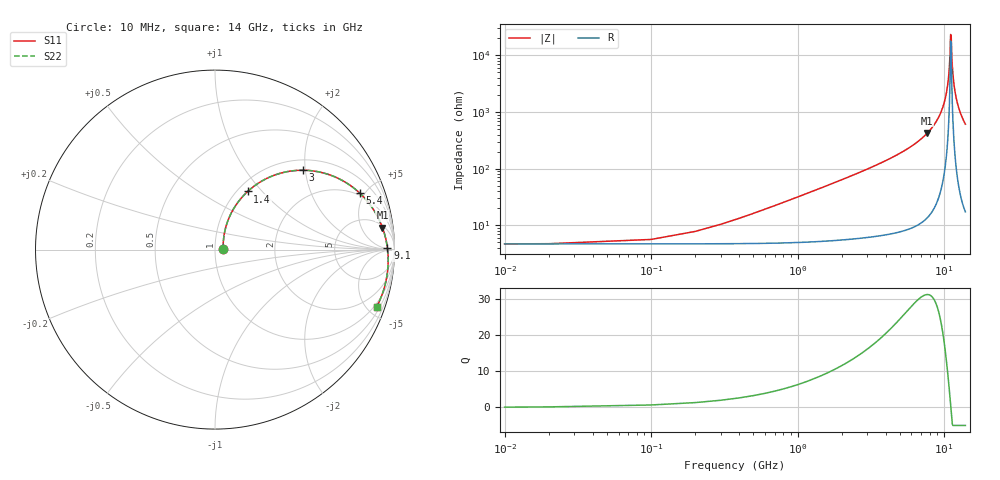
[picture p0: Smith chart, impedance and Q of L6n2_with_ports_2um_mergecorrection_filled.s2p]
#  GHZ S DB R 50.0
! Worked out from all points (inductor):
!   142 points, 10 MHz to 14 GHz, reference 50 ohm
!   read as one part in series: L = 4.93 nH near 500 MHz
!   highest Q = 31.2 at 7.7 GHz (marker M1), where L = 8.78 nH
!   self-resonance near 11.1 GHz
!   S11 on the Smith chart (normalised r, x): 10 MHz: 1.09, +0.01; 1.4 GHz: 1.11, +0.84; 3 GHz: 1.24, +1.94; 5.4 GHz: 1.83, +4.60; 9.1 GHz: 46, +13; 14 GHz: 0.78, -5.73
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0.01  -26.97 3.3  -0.40 -0.2  -0.40 -0.2  -26.97 3.3
0.6  -15.40 65.9  -0.58 -10.7  -0.58 -10.7  -15.41 65.8
1.4  -8.60 60.7  -1.20 -23.7  -1.20 -23.7  -8.60 60.7
2.4  -4.87 48.7  -2.40 -37.8  -2.40 -37.8  -4.88 48.7
3  -3.61 42.1  -3.28 -45.0  -3.28 -45.0  -3.61 42.1
4.7  -1.68 26.5  -6.19 -61.3  -6.19 -61.3  -1.68 26.5
5.4  -1.25 21.4  -7.55 -66.7  -7.55 -66.7  -1.26 21.3
7.1  -0.65 10.8  -11.38 -77.5  -11.38 -77.5  -0.65 10.7
7.7  -0.53 7.5  -13.01 -80.7  -13.01 -80.7  -0.53 7.5
9.1  -0.35 0.6  -18.04 -87.3  -18.04 -87.3  -0.35 0.6
9.4  -0.33 -0.7  -19.51 -88.4  -19.51 -88.4  -0.33 -0.8
10.1  -0.29 -3.9  -24.16 -90.4  -24.16 -90.4  -0.29 -3.9
10.6  -0.28 -6.0  -29.91 -89.9  -29.91 -89.9  -0.28 -6.0
10.9  -0.27 -7.3  -36.74 -84.4  -36.74 -84.4  -0.27 -7.3
11  -0.27 -7.7  -40.93 -76.8  -40.93 -76.8  -0.27 -7.7
11.1  -0.27 -8.1  -47.71 -47.9  -47.71 -47.9  -0.27 -8.1
11.2  -0.27 -8.5  -47.14 36.1  -47.14 36.1  -0.27 -8.5
11.3  -0.27 -8.9  -40.62 61.7  -40.62 61.7  -0.27 -8.9
11.4  -0.27 -9.3  -36.62 68.7  -36.62 68.7  -0.27 -9.3
11.7  -0.28 -10.5  -30.07 74.0  -30.07 74.0  -0.28 -10.5
12.5  -0.30 -13.7  -22.51 74.0  -22.51 74.0  -0.30 -13.7
14  -0.39 -19.5  -16.32 69.2  -16.32 69.2  -0.40 -19.5
